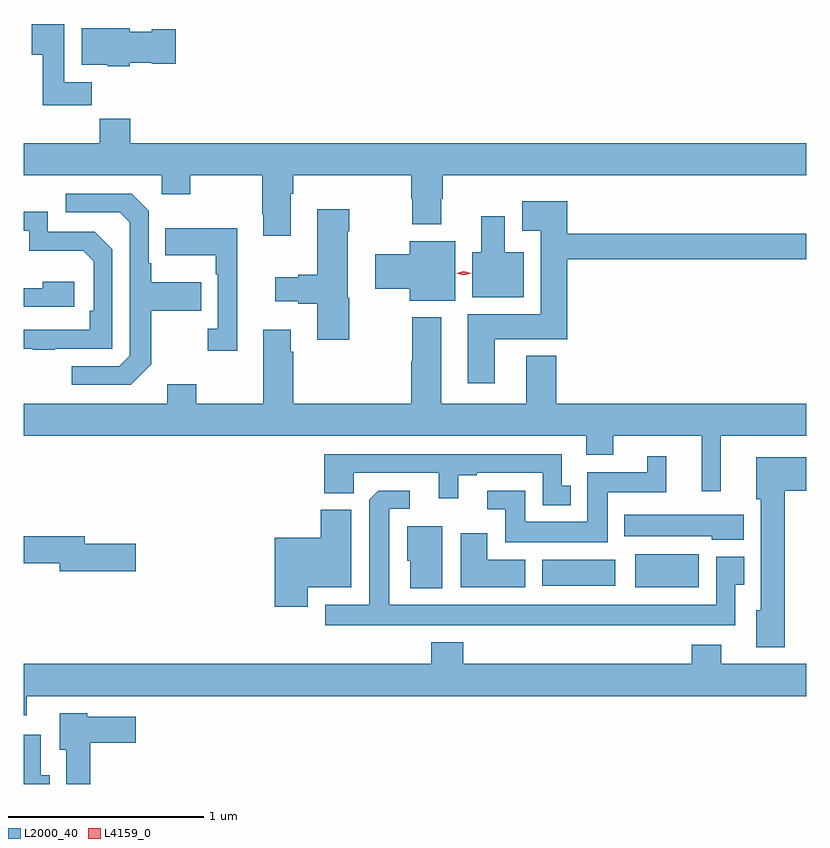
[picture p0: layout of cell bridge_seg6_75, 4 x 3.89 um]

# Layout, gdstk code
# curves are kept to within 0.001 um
import gdstk
lib = gdstk.Library(unit=1e-6, precision=1e-09)
def R(c, l, rs):  # rectangles x0, y0, x1, y1
    for r in rs: c.add(gdstk.rectangle(r[:2], r[2:], *l))
def P(c, l, *ps):  # polygons
    for p in ps: c.add(gdstk.Polygon(p, *l))
L2000_40 = (2000, 40)
L4159_0 = (4159, 0)

bridge_seg6_75 = lib.new_cell('bridge_seg6_75')
R(bridge_seg6_75, L2000_40, [(761.027,987.851,761.35,988.021), (760.55,987.86,760.924,987.994)])
P(bridge_seg6_75, L2000_40, [(758.246,990.436),(758.107,990.436),(758.107,990.733),(757.94,990.733),(757.94,990.577),(757.997,990.577),(757.997,990.318),(758.246,990.318)],
  [(758.442,990.536),(758.553,990.536),(758.553,990.529),(758.677,990.529),(758.677,990.707),(758.553,990.707),(758.553,990.694),(758.442,990.694),(758.442,990.712),(758.195,990.712),(758.195,990.524),(758.328,990.524),(758.328,990.518),(758.442,990.518)],
  [(759.265,989.864),(759.278,989.864),(759.278,989.96),(759.881,989.96),(759.881,989.84),(759.886,989.84),(759.886,989.708),(760.033,989.708),(760.033,989.84),(760.041,989.84),(760.041,989.96),(761.9,989.96),(761.9,990.124),(758.444,990.124),(758.444,990.248),(758.287,990.248),(758.287,990.124),(757.9,990.124),(757.9,989.96),(758.604,989.96),(758.604,989.861),(758.751,989.861),(758.751,989.96),(759.118,989.96),(759.118,989.761),(759.125,989.761),(759.125,989.649),(759.265,989.649)],
  [(758.551,988.993),(758.551,989.266),(758.807,989.266),(758.807,989.413),(758.551,989.413),(758.551,989.509),(758.538,989.509),(758.538,989.778),(758.451,989.865),(758.115,989.865),(758.115,989.769),(758.391,989.769),(758.442,989.718),(758.442,989.037),(758.388,988.983),(758.145,988.983),(758.145,988.887),(758.445,988.887)],
  [(760.309,989.12),(760.679,989.12),(760.679,989.53),(761.9,989.53),(761.9,989.659),(760.679,989.659),(760.679,989.827),(760.449,989.827),(760.449,989.675),(760.544,989.675),(760.544,989.248),(760.169,989.248),(760.169,988.896),(760.309,988.896)],
  [(759.564,989.333),(759.556,989.333),(759.556,989.672),(759.564,989.672),(759.564,989.785),(759.401,989.785),(759.401,989.45),(759.302,989.45),(759.302,989.437),(759.186,989.437),(759.186,989.315),(759.302,989.315),(759.302,989.303),(759.401,989.303),(759.401,989.118),(759.564,989.118)],
  [(758.057,989.073),(758.352,989.073),(758.352,989.58),(758.262,989.67),(758.022,989.67),(758.022,989.772),(757.9,989.772),(757.9,989.676),(757.926,989.676),(757.926,989.573),(758.203,989.573),(758.256,989.52),(758.256,989.266),(758.236,989.266),(758.236,989.169),(757.9,989.169),(757.9,989.073),(757.945,989.073),(757.945,989.068),(758.057,989.068)],
  [(760.456,989.566),(760.36,989.566),(760.36,989.749),(760.238,989.749),(760.238,989.566),(760.193,989.566),(760.193,989.336),(760.456,989.336)],
  [(758.99,989.689),(758.623,989.689),(758.623,989.549),(758.88,989.549),(758.88,989.453),(758.892,989.453),(758.892,989.174),(758.841,989.174),(758.841,989.061),(758.99,989.061)],
  [(760.105,989.623),(759.872,989.623),(759.872,989.556),(759.696,989.556),(759.696,989.378),(759.872,989.378),(759.872,989.318),(760.105,989.318)],
  [(758.158,989.416),(757.997,989.416),(757.997,989.382),(757.9,989.382),(757.9,989.286),(758.158,989.286)],
  [(760.775,988.529),(760.915,988.529),(760.915,988.628),(761.366,988.628),(761.366,988.344),(761.465,988.344),(761.465,988.628),(761.9,988.628),(761.9,988.792),(760.622,988.792),(760.622,989.035),(760.469,989.035),(760.469,988.792),(760.033,988.792),(760.033,989.233),(759.886,989.233),(759.886,989.007),(759.881,989.007),(759.881,988.792),(759.278,988.792),(759.278,989.057),(759.265,989.057),(759.265,989.17),(759.125,989.17),(759.125,988.792),(758.781,988.792),(758.781,988.891),(758.633,988.891),(758.633,988.792),(757.9,988.792),(757.9,988.628),(760.775,988.628)],
  [(760.696,988.371),(760.65,988.371),(760.65,988.533),(759.437,988.533),(759.437,988.334),(759.588,988.334),(759.588,988.437),(760.022,988.437),(760.022,988.308),(760.12,988.308),(760.12,988.425),(760.216,988.425),(760.216,988.437),(760.554,988.437),(760.554,988.271),(760.696,988.271)],
  [(760.885,988.337),(761.186,988.337),(761.186,988.522),(761.087,988.522),(761.087,988.441),(760.781,988.441),(760.781,988.186),(760.465,988.186),(760.465,988.347),(760.269,988.347),(760.269,988.251),(760.361,988.251),(760.361,988.082),(760.885,988.082)],
  [(761.792,988.346),(761.9,988.346),(761.9,988.516),(761.645,988.516),(761.645,988.302),(761.669,988.302),(761.669,987.735),(761.645,987.735),(761.645,987.545),(761.792,987.545)],
  [(761.539,987.865),(761.584,987.865),(761.584,988.009),(761.442,988.009),(761.442,987.763),(759.769,987.763),(759.769,988.254),(759.874,988.254),(759.874,988.347),(759.712,988.347),(759.666,988.301),(759.665,987.763),(759.441,987.763),(759.441,987.659),(761.539,987.659)],
  [(759.352,987.851),(759.574,987.851),(759.574,988.249),(759.419,988.249),(759.419,988.105),(759.182,988.105),(759.182,987.753),(759.352,987.753)],
  [(761.581,988.222),(760.97,988.222),(760.97,988.112),(761.418,988.112),(761.418,988.094),(761.581,988.094)],
  [(760.039,988.165),(759.86,988.165),(759.86,987.987),(759.875,987.987),(759.875,987.848),(760.039,987.848)],
  [(760.465,987.994),(760.27,987.994),(760.27,988.129),(760.133,988.129),(760.133,987.851),(760.465,987.851)],
  [(758.473,988.076),(758.212,988.076),(758.212,988.112),(757.9,988.112),(757.9,987.976),(758.084,987.976),(758.084,987.934),(758.473,987.934)],
  [(757.915,987.296),(761.9,987.296),(761.9,987.46),(761.467,987.46),(761.467,987.559),(761.315,987.559),(761.315,987.46),(760.148,987.46),(760.148,987.571),(759.983,987.571),(759.983,987.46),(757.9,987.46),(757.9,987.197),(757.915,987.197)],
  [(758.24,987.056),(758.473,987.056),(758.473,987.19),(758.223,987.19),(758.223,987.208),(758.084,987.208),(758.084,987.021),(758.117,987.021),(758.117,986.846),(758.24,986.846)],
  [(758.032,986.892),(757.987,986.892),(757.987,987.097),(757.9,987.097),(757.9,986.846),(758.032,986.846)])
P(bridge_seg6_75, L4159_0, [(760.149,989.449),(760.112,989.458),(760.112,989.459),(760.112,989.459),(760.149,989.469),(760.187,989.459),(760.187,989.459),(760.187,989.458)])

lib.write_gds('bridge_seg6_75.gds')
